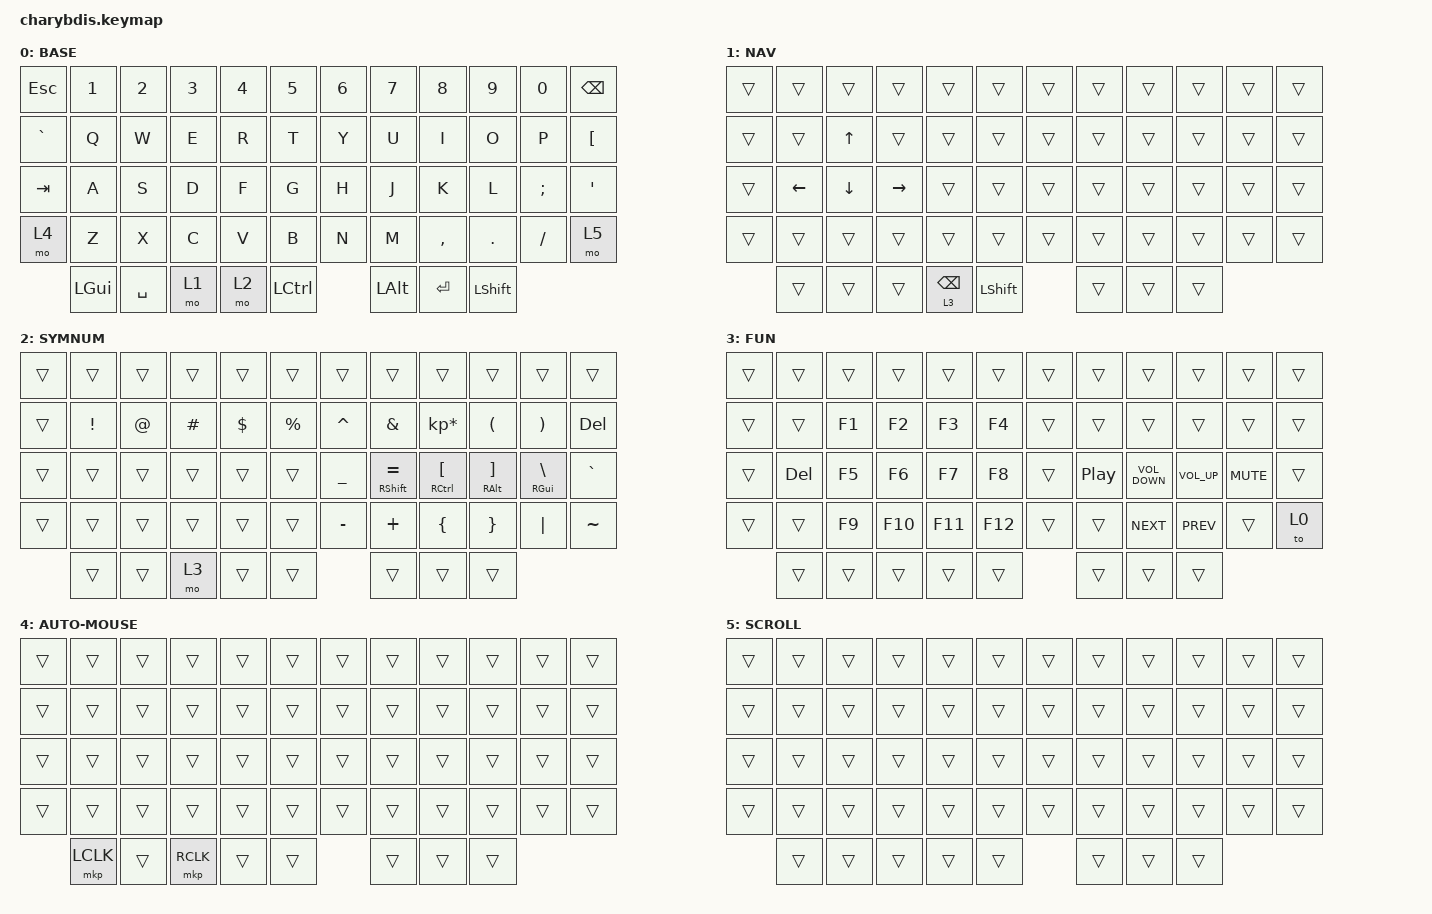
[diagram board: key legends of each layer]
#include "keys_de_swiss.h"
#include <dt-bindings/zmk/mouse.h>
#include <behaviors/mouse_keys.dtsi>
#include <behaviors.dtsi>
#include <dt-bindings/zmk/keys.h>
#include <dt-bindings/zmk/pointing.h>

#define U_TAPPING_TERM 200

// / {
//     chosen { zmk,matrix_transform = &default_transform; };
// };

/ {
    /* input config for mouse move mode */

    trackball_listener {
        compatible = "zmk,input-behavior-listener";
        device = <&vtrackball>;
        layers = <0 1 2 3>;
        evt-type = <INPUT_EV_REL>;
        x-input-code = <INPUT_REL_X>;
        y-input-code = <INPUT_REL_Y>;
        scale-multiplier = <1>;
        scale-divisor = <2>;

        // bindings = <&ib_toggle_layer 7>;
    };

    /* input config for snipe mode */

    trackball_snipe_listener {
        compatible = "zmk,input-behavior-listener";
        device = <&vtrackball>;
        layers = <4>;
        evt-type = <INPUT_EV_REL>;
        x-input-code = <INPUT_REL_X>;
        y-input-code = <INPUT_REL_Y>;
        scale-multiplier = <1>;
        scale-divisor = <4>;
    };

    /* input config for mouse scroll mode */

    trackball_scroll_listener {
        compatible = "zmk,input-behavior-listener";
        device = <&vtrackball>;
        layers = <5>;
        evt-type = <INPUT_EV_REL>;
        x-input-code = <INPUT_REL_MISC>;
        y-input-code = <INPUT_REL_WHEEL>;
        y-invert;
        bindings = <&ib_wheel_scaler 1 14>;
    };

    /* define a resolution down scaler only for INPUT_REL_WHEEL */

    ib_wheel_scaler: ib_wheel_scaler {
        compatible = "zmk,input-behavior-scaler";
        #binding-cells = <2>;
        evt-type = <INPUT_EV_REL>;
        input-code = <INPUT_REL_WHEEL>;
    };

    /* adjust cooldown waiting period for mouse key layer after activated */

    ib_toggle_layer: ib_toggle_layer {
        compatible = "zmk,input-behavior-tog-layer";
        #binding-cells = <1>;
        time-to-live-ms = <750>;
    };

    combos {
        compatible = "zmk,combos";

        LeftClickRight {
            bindings = <&mkp LCLK>;
            key-positions = <19 20>;
        };

        RightClickRight {
            bindings = <&mkp RCLK>;
            key-positions = <20 21>;
        };

        MiddleClickRight {
            bindings = <&mkp MCLK>;
            key-positions = <21 22>;
        };

        ParaLeft {
            bindings = <&kp LEFT_PARENTHESIS>;
            key-positions = <4 16>;
        };

        ParaRight {
            bindings = <&kp RIGHT_PARENTHESIS>;
            key-positions = <7 19>;
        };

        BrakLeft {
            bindings = <&kp LEFT_BRACKET>;
            key-positions = <3 15>;
        };

        BrakRight {
            bindings = <&kp RIGHT_BRACKET>;
            key-positions = <8 20>;
        };

        BraceLeft {
            bindings = <&kp LEFT_BRACE>;
            key-positions = <2 14>;
        };

        BraceRight {
            bindings = <&kp RIGHT_BRACE>;
            key-positions = <9 21>;
        };

        Delete {
            bindings = <&kp DELETE>;
            key-positions = <8 9>;
        };
    };

    behaviors {
        u_mt: u_mt {
            compatible = "zmk,behavior-hold-tap";
            label = "u_mt";
            #binding-cells = <2>;
            tapping_term_ms = <U_TAPPING_TERM>;
            flavor = "tap-preferred";
            bindings = <&kp>, <&kp>;
        };

        u_lt: u_lt {
            compatible = "zmk,behavior-hold-tap";
            label = "u_lt";
            #binding-cells = <2>;
            tapping_term_ms = <U_TAPPING_TERM>;
            flavor = "tap-preferred";
            bindings = <&mo>, <&kp>;
        };

        Shift_Enter: Shift_Enter {
            compatible = "zmk,behavior-hold-tap";
            label = "SHIFT_ENTER";
            bindings = <&kp>, <&kp>;

            #binding-cells = <2>;
            hold-trigger-key-positions = <40>;
            tapping-term-ms = <100>;
        };
    };

    keymap {
        compatible = "zmk,keymap";

        BASE {
            bindings = <
&kp ESC    &kp N1    &kp N2     &kp N3  &kp N4  &kp N5     &kp N6  &kp N7        &kp N8     &kp N9     &kp N0    &kp BACKSPACE
&kp GRAVE  &kp Q     &kp W      &kp E   &kp R   &kp T      &kp Y   &kp U         &kp I      &kp O      &kp P     &kp LEFT_BRACKET
&kp TAB    &kp A     &kp S      &kp D   &kp F   &kp G      &kp H   &kp J         &kp K      &kp L      &kp SEMI  &kp APOS
&mo 4      &kp Z     &kp X      &kp C   &kp V   &kp B      &kp N   &kp M         &kp COMMA  &kp DOT    &kp FSLH  &mo 5
           &kp LGUI  &kp SPACE  &mo 1   &mo 2   &kp LCTRL          &kp LEFT_ALT  &kp RET    &kp LSHFT
            >;
        };

        NAV {
            bindings = <
&trans  &trans    &trans    &trans     &trans           &trans     &trans  &trans  &trans  &trans  &trans  &trans
&trans  &trans    &kp UP    &trans     &trans           &trans     &trans  &trans  &trans  &trans  &trans  &trans
&trans  &kp LEFT  &kp DOWN  &kp RIGHT  &trans           &trans     &trans  &trans  &trans  &trans  &trans  &trans
&trans  &trans    &trans    &trans     &trans           &trans     &trans  &trans  &trans  &trans  &trans  &trans
        &trans    &trans    &trans     &lt 3 BACKSPACE  &kp LSHFT          &trans  &trans  &trans
            >;
        };

        SYMNUM {
            bindings = <
&trans  &trans    &trans  &trans    &trans    &trans     &trans     &trans                   &trans            &trans                &trans                &trans
&trans  &kp EXCL  &kp AT  &kp HASH  &kp DLLR  &kp PRCNT  &kp CARET  &kp AMPS                 &kp KP_MULTIPLY   &kp LPAR              &kp RPAR              &kp DEL
&trans  &trans    &trans  &trans    &trans    &trans     &kp UNDER  &u_mt RIGHT_SHIFT EQUAL  &u_mt RCTRL LBKT  &u_mt RIGHT_ALT RBKT  &u_mt RIGHT_GUI BSLH  &kp GRAVE
&trans  &trans    &trans  &trans    &trans    &trans     &kp MINUS  &kp PLUS                 &kp LBRC          &kp RBRC              &kp PIPE              &kp TILDE
        &trans    &trans  &mo 3     &trans    &trans                &trans                   &trans            &trans
            >;
        };

        FUN {
            bindings = <
&trans  &trans   &trans  &trans   &trans   &trans   &trans  &trans    &trans             &trans           &trans      &trans
&trans  &trans   &kp F1  &kp F2   &kp F3   &kp F4   &trans  &trans    &trans             &trans           &trans      &trans
&trans  &kp DEL  &kp F5  &kp F6   &kp F7   &kp F8   &trans  &kp C_PP  &kp C_VOLUME_DOWN  &kp C_VOLUME_UP  &kp C_MUTE  &trans
&trans  &trans   &kp F9  &kp F10  &kp F11  &kp F12  &trans  &trans    &kp C_NEXT         &kp C_PREV       &trans      &to 0
        &trans   &trans  &trans   &trans   &trans           &trans    &trans             &trans
            >;
        };

        AUTO-MOUSE {
            bindings = <
&trans  &trans     &trans  &trans     &trans  &trans  &trans  &trans  &trans  &trans  &trans  &trans
&trans  &trans     &trans  &trans     &trans  &trans  &trans  &trans  &trans  &trans  &trans  &trans
&trans  &trans     &trans  &trans     &trans  &trans  &trans  &trans  &trans  &trans  &trans  &trans
&trans  &trans     &trans  &trans     &trans  &trans  &trans  &trans  &trans  &trans  &trans  &trans
        &mkp LCLK  &trans  &mkp RCLK  &trans  &trans          &trans  &trans  &trans
            >;
        };

        SCROLL {
            bindings = <
&trans  &trans  &trans  &trans  &trans  &trans  &trans  &trans  &trans  &trans  &trans  &trans
&trans  &trans  &trans  &trans  &trans  &trans  &trans  &trans  &trans  &trans  &trans  &trans
&trans  &trans  &trans  &trans  &trans  &trans  &trans  &trans  &trans  &trans  &trans  &trans
&trans  &trans  &trans  &trans  &trans  &trans  &trans  &trans  &trans  &trans  &trans  &trans
        &trans  &trans  &trans  &trans  &trans          &trans  &trans  &trans
            >;
        };
    };
};
